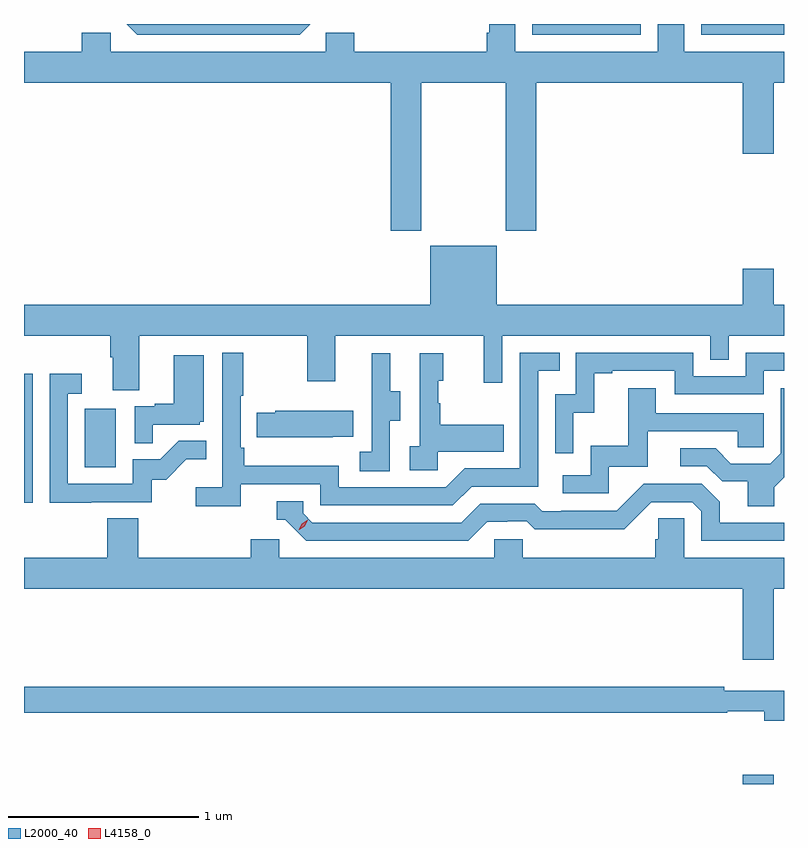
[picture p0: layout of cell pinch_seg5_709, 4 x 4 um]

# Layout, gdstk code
import gdstk
lib = gdstk.Library(unit=1e-6, precision=1e-09)
def R(c, l, rs):  # rectangles x0, y0, x1, y1
    for r in rs: c.add(gdstk.rectangle(r[:2], r[2:], *l))
def P(c, l, *ps):  # polygons
    for p in ps: c.add(gdstk.Polygon(p, *l))
L2000_40 = (2000, 40)
L4158_0 = (4158, 0)

pinch_seg5_709 = lib.new_cell('pinch_seg5_709')
R(pinch_seg5_709, L2000_40, [(1088.084,843.745,1088.248,843.793), (1084.302,845.224,1084.347,845.905), (1084.622,845.412,1084.786,845.719), (1086.978,847.689,1087.548,847.745), (1087.866,847.689,1088.302,847.745)])
P(pinch_seg5_709, L2000_40, [(1085.808,847.745),(1084.843,847.745),(1084.899,847.689),(1085.752,847.689)],
  [(1087.638,847.745),(1087.638,847.6),(1086.888,847.6),(1086.888,847.745),(1086.751,847.745),(1086.751,847.698),(1086.737,847.698),(1086.737,847.6),(1086.039,847.6),(1086.039,847.698),(1085.889,847.698),(1085.889,847.6),(1084.758,847.6),(1084.758,847.698),(1084.607,847.698),(1084.607,847.6),(1084.302,847.6),(1084.302,847.436),(1086.233,847.436),(1086.233,846.657),(1086.393,846.657),(1086.393,847.436),(1086.838,847.436),(1086.838,846.657),(1086.998,846.657),(1086.998,847.436),(1088.084,847.436),(1088.084,847.062),(1088.248,847.062),(1088.248,847.436),(1088.302,847.436),(1088.302,847.6),(1087.777,847.6),(1087.777,847.745)],
  [(1086.79,846.577),(1086.44,846.577),(1086.44,846.268),(1084.302,846.268),(1084.302,846.104),(1084.757,846.104),(1084.757,845.992),(1084.769,845.992),(1084.769,845.818),(1084.909,845.818),(1084.909,846.104),(1085.794,846.104),(1085.794,845.865),(1085.941,845.865),(1085.941,846.104),(1086.722,846.104),(1086.722,845.856),(1086.819,845.856),(1086.819,846.104),(1087.914,846.104),(1087.914,845.977),(1088.01,845.977),(1088.01,846.104),(1088.302,846.104),(1088.302,846.268),(1088.248,846.268),(1088.248,846.457),(1088.084,846.457),(1088.084,846.268),(1086.79,846.268)],
  [(1085.444,845.322),(1085.862,845.322),(1085.862,845.211),(1086.559,845.211),(1086.658,845.31),(1087.008,845.31),(1087.008,845.919),(1087.121,845.919),(1087.121,846.015),(1086.912,846.015),(1086.912,845.406),(1086.621,845.406),(1086.522,845.307),(1085.958,845.307),(1085.958,845.419),(1085.462,845.419),(1085.462,845.515),(1085.442,845.515),(1085.442,845.788),(1085.455,845.788),(1085.455,846.016),(1085.346,846.016),(1085.346,845.308),(1085.205,845.308),(1085.205,845.206),(1085.444,845.206)],
  [(1087.194,845.699),(1087.304,845.699),(1087.304,845.907),(1087.399,845.907),(1087.399,845.919),(1087.728,845.919),(1087.728,845.796),(1088.196,845.796),(1088.196,845.919),(1088.302,845.919),(1088.302,846.015),(1088.1,846.015),(1088.1,845.892),(1087.824,845.892),(1087.824,846.015),(1087.206,846.015),(1087.206,845.796),(1087.098,845.796),(1087.098,845.487),(1087.194,845.487)],
  [(1086.228,845.656),(1086.283,845.656),(1086.283,845.811),(1086.229,845.811),(1086.229,846.013),(1086.131,846.013),(1086.131,845.799),(1086.132,845.799),(1086.132,845.495),(1086.069,845.495),(1086.069,845.392),(1086.228,845.392)],
  [(1086.48,845.495),(1086.827,845.495),(1086.827,845.635),(1086.493,845.635),(1086.493,845.75),(1086.483,845.75),(1086.483,845.868),(1086.508,845.868),(1086.508,846.013),(1086.384,846.013),(1086.384,845.522),(1086.333,845.522),(1086.333,845.397),(1086.48,845.397)],
  [(1084.979,845.637),(1085.226,845.637),(1085.226,845.652),(1085.248,845.652),(1085.248,846.001),(1085.09,846.001),(1085.09,845.746),(1084.991,845.746),(1084.991,845.733),(1084.884,845.733),(1084.884,845.539),(1084.979,845.539)],
  [(1084.655,845.229),(1084.974,845.229),(1084.974,845.346),(1085.05,845.346),(1085.157,845.453),(1085.261,845.453),(1085.261,845.552),(1085.117,845.552),(1085.019,845.454),(1084.875,845.454),(1084.875,845.325),(1084.533,845.325),(1084.533,845.799),(1084.606,845.799),(1084.606,845.905),(1084.437,845.905),(1084.437,845.224),(1084.655,845.224)],
  [(1087.38,845.415),(1087.585,845.415),(1087.585,845.601),(1088.059,845.601),(1088.059,845.517),(1088.196,845.517),(1088.196,845.697),(1087.627,845.697),(1087.627,845.827),(1087.483,845.827),(1087.483,845.524),(1087.284,845.524),(1087.284,845.37),(1087.137,845.37),(1087.137,845.274),(1087.38,845.274)],
  [(1088.251,845.308),(1088.302,845.359),(1088.302,845.827),(1088.286,845.827),(1088.286,845.487),(1088.229,845.43),(1088.023,845.43),(1087.942,845.511),(1087.755,845.511),(1087.755,845.418),(1087.896,845.418),(1087.976,845.338),(1088.111,845.338),(1088.111,845.206),(1088.251,845.206)],
  [(1085.927,845.573),(1086.035,845.573),(1086.035,845.71),(1085.625,845.71),(1085.625,845.7),(1085.527,845.7),(1085.527,845.57),(1085.927,845.57)],
  [(1086.739,845.124),(1086.846,845.124),(1086.846,845.127),(1086.949,845.127),(1086.991,845.085),(1087.224,845.085),(1087.224,845.087),(1087.46,845.087),(1087.602,845.229),(1087.818,845.229),(1087.866,845.181),(1087.866,845.025),(1088.302,845.025),(1088.302,845.121),(1087.963,845.121),(1087.963,845.231),(1087.869,845.325),(1087.563,845.325),(1087.422,845.184),(1087.129,845.184),(1087.129,845.181),(1087.03,845.181),(1086.991,845.22),(1086.702,845.22),(1086.603,845.121),(1085.82,845.121),(1085.772,845.169),(1085.772,845.232),(1085.633,845.232),(1085.633,845.136),(1085.676,845.136),(1085.787,845.025),(1086.64,845.025)],
  [(1088.248,844.772),(1088.302,844.772),(1088.302,844.936),(1087.776,844.936),(1087.776,845.144),(1087.639,845.144),(1087.639,845.034),(1087.625,845.034),(1087.625,844.936),(1086.927,844.936),(1086.927,845.034),(1086.777,845.034),(1086.777,844.936),(1085.646,844.936),(1085.646,845.034),(1085.495,845.034),(1085.495,844.936),(1084.904,844.936),(1084.904,845.144),(1084.739,845.144),(1084.739,844.936),(1084.302,844.936),(1084.302,844.772),(1088.084,844.772),(1088.084,844.398),(1088.248,844.398)],
  [(1088.302,844.237),(1087.988,844.237),(1087.988,844.256),(1084.302,844.256),(1084.302,844.12),(1088.002,844.12),(1088.002,844.128),(1088.198,844.128),(1088.198,844.078),(1088.302,844.078)])
P(pinch_seg5_709, L4158_0, [(1085.749,845.082),(1085.749,845.082),(1085.765,845.115),(1085.795,845.136),(1085.796,845.136),(1085.796,845.135),(1085.78,845.102),(1085.75,845.082)])

lib.write_gds('pinch_seg5_709.gds')
